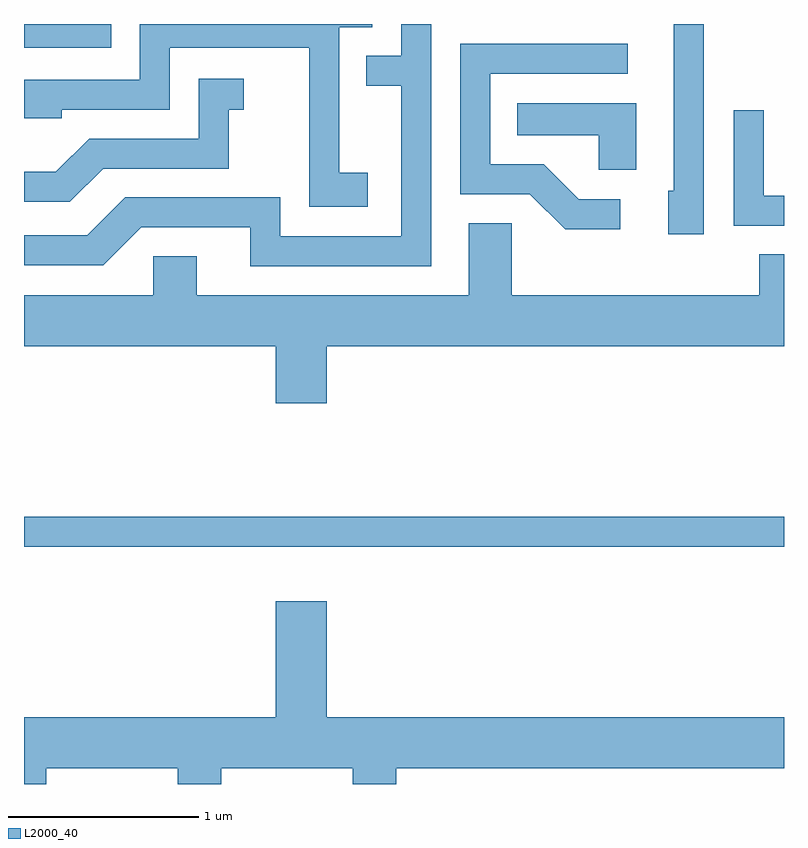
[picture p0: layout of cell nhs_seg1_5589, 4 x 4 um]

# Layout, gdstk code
import gdstk
lib = gdstk.Library(unit=1e-6, precision=1e-09)
def R(c, l, rs):  # rectangles x0, y0, x1, y1
    for r in rs: c.add(gdstk.rectangle(r[:2], r[2:], *l))
def P(c, l, *ps):  # polygons
    for p in ps: c.add(gdstk.Polygon(p, *l))
L2000_40 = (2000, 40)

nhs_seg1_5589 = lib.new_cell('nhs_seg1_5589')
R(nhs_seg1_5589, L2000_40, [(353.611,902.961,357.611,903.119), (353.611,905.586,354.069,905.712)])
P(nhs_seg1_5589, L2000_40, [(355.754,905.712),(355.596,905.712),(355.596,905.544),(355.413,905.544),(355.413,905.386),(355.596,905.386),(355.596,904.594),(354.959,904.594),(354.959,904.799),(354.144,904.799),(353.944,904.599),(353.611,904.599),(353.611,904.441),(354.027,904.441),(354.227,904.641),(354.801,904.641),(354.801,904.436),(355.754,904.436)],
  [(357.189,905.712),(357.031,905.712),(357.031,904.834),(357.001,904.834),(357.001,904.606),(357.189,904.606)],
  [(355.419,904.929),(355.269,904.929),(355.269,905.696),(355.444,905.696),(355.444,905.712),(354.221,905.712),(354.221,905.419),(353.611,905.419),(353.611,905.216),(353.809,905.216),(353.809,905.261),(354.379,905.261),(354.379,905.586),(355.111,905.586),(355.111,904.751),(355.419,904.751)],
  [(356.748,904.789),(356.532,904.789),(356.347,904.974),(356.064,904.974),(356.064,905.451),(356.788,905.451),(356.788,905.609),(355.906,905.609),(355.906,904.816),(356.274,904.816),(356.459,904.631),(356.748,904.631)],
  [(354.027,904.951),(354.689,904.951),(354.689,905.261),(354.768,905.261),(354.768,905.424),(354.531,905.424),(354.531,905.109),(353.954,905.109),(353.779,904.934),(353.611,904.934),(353.611,904.776),(353.852,904.776)],
  [(356.834,905.294),(356.208,905.294),(356.208,905.126),(356.636,905.126),(356.636,904.946),(356.834,904.946)],
  [(357.611,904.809),(357.504,904.809),(357.504,905.258),(357.346,905.258),(357.346,904.651),(357.611,904.651)],
  [(355.204,904.016),(357.611,904.016),(357.611,904.499),(357.481,904.499),(357.481,904.284),(356.179,904.284),(356.179,904.664),(355.951,904.664),(355.951,904.284),(354.519,904.284),(354.519,904.489),(354.291,904.489),(354.291,904.284),(353.611,904.284),(353.611,904.016),(354.936,904.016),(354.936,903.716),(355.204,903.716)],
  [(353.729,901.796),(354.421,901.796),(354.421,901.712),(354.649,901.712),(354.649,901.796),(355.341,901.796),(355.341,901.712),(355.569,901.712),(355.569,901.796),(357.611,901.796),(357.611,902.064),(355.204,902.064),(355.204,902.674),(354.936,902.674),(354.936,902.064),(353.611,902.064),(353.611,901.712),(353.729,901.712)])

lib.write_gds('nhs_seg1_5589.gds')
